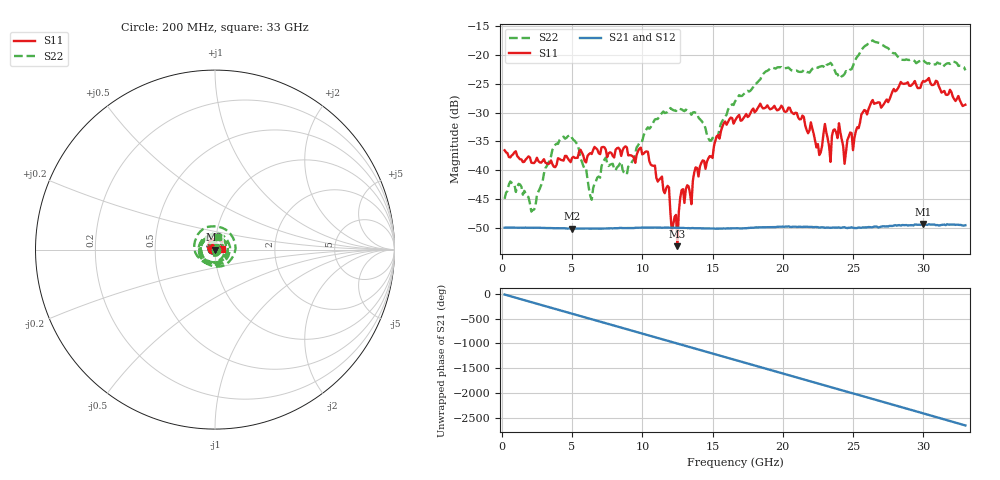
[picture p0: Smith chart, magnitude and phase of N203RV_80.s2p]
# GHZ S RI R 50
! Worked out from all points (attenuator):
!   329 points, 200 MHz to 33 GHz, reference 50 ohm
!   highest |S21| = -49.31 dB at 30 GHz (marker M1); lowest = -50.2 dB at 5 GHz (marker M2)
!   lowest |S11| = -53.2 dB at 12.5 GHz (marker M3), VSWR 1.00, Z = 49.8 - j0.0333 ohm
!   |S11| at or under -10 dB: start of sweep to end of sweep
!   |S22| runs from -47.2 to -17.5 dB; largest |S21 - S12| = 7.3e-05
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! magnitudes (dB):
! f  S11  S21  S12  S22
! 200 MHz  -36.5  -50.0  -49.9  -45.0
! 2.3 GHz  -38.7  -50.0  -50.0  -46.8
! 3.7 GHz  -39.4  -50.0  -50.0  -36.0
! 5 GHz  -37.9  -50.2  -50.1  -34.4
! 5.7 GHz  -36.9  -50.1  -50.1  -38.5
! 6.4 GHz  -37.2  -50.1  -50.1  -45.1
! 11.2 GHz  -41.6  -49.9  -49.9  -30.7
! 11.9 GHz  -43.0  -50.0  -50.0  -29.7
! 12.5 GHz  -53.2  -50.0  -50.0  -29.4
! 12.8 GHz  -43.4  -50.0  -50.0  -29.4
! 14.9 GHz  -37.6  -50.1  -50.1  -34.9
! 16.6 GHz  -31.4  -50.1  -50.1  -28.1
! 22.1 GHz  -32.7  -49.9  -49.8  -22.4
! 22.6 GHz  -37.4  -49.9  -49.9  -22.0
! 23 GHz  -32.0  -50.0  -49.9  -22.2
! 23.4 GHz  -38.6  -50.0  -50.0  -21.4
! 24 GHz  -31.8  -49.9  -49.9  -23.9
! 24.4 GHz  -38.9  -49.9  -49.8  -23.3
! 25.8 GHz  -29.5  -49.9  -50.0  -18.5
! 27.6 GHz  -27.7  -49.6  -49.7  -19.1
! 30 GHz  -24.5  -49.3  -49.4  -20.9
! 33 GHz  -28.6  -49.5  -49.5  -22.7
